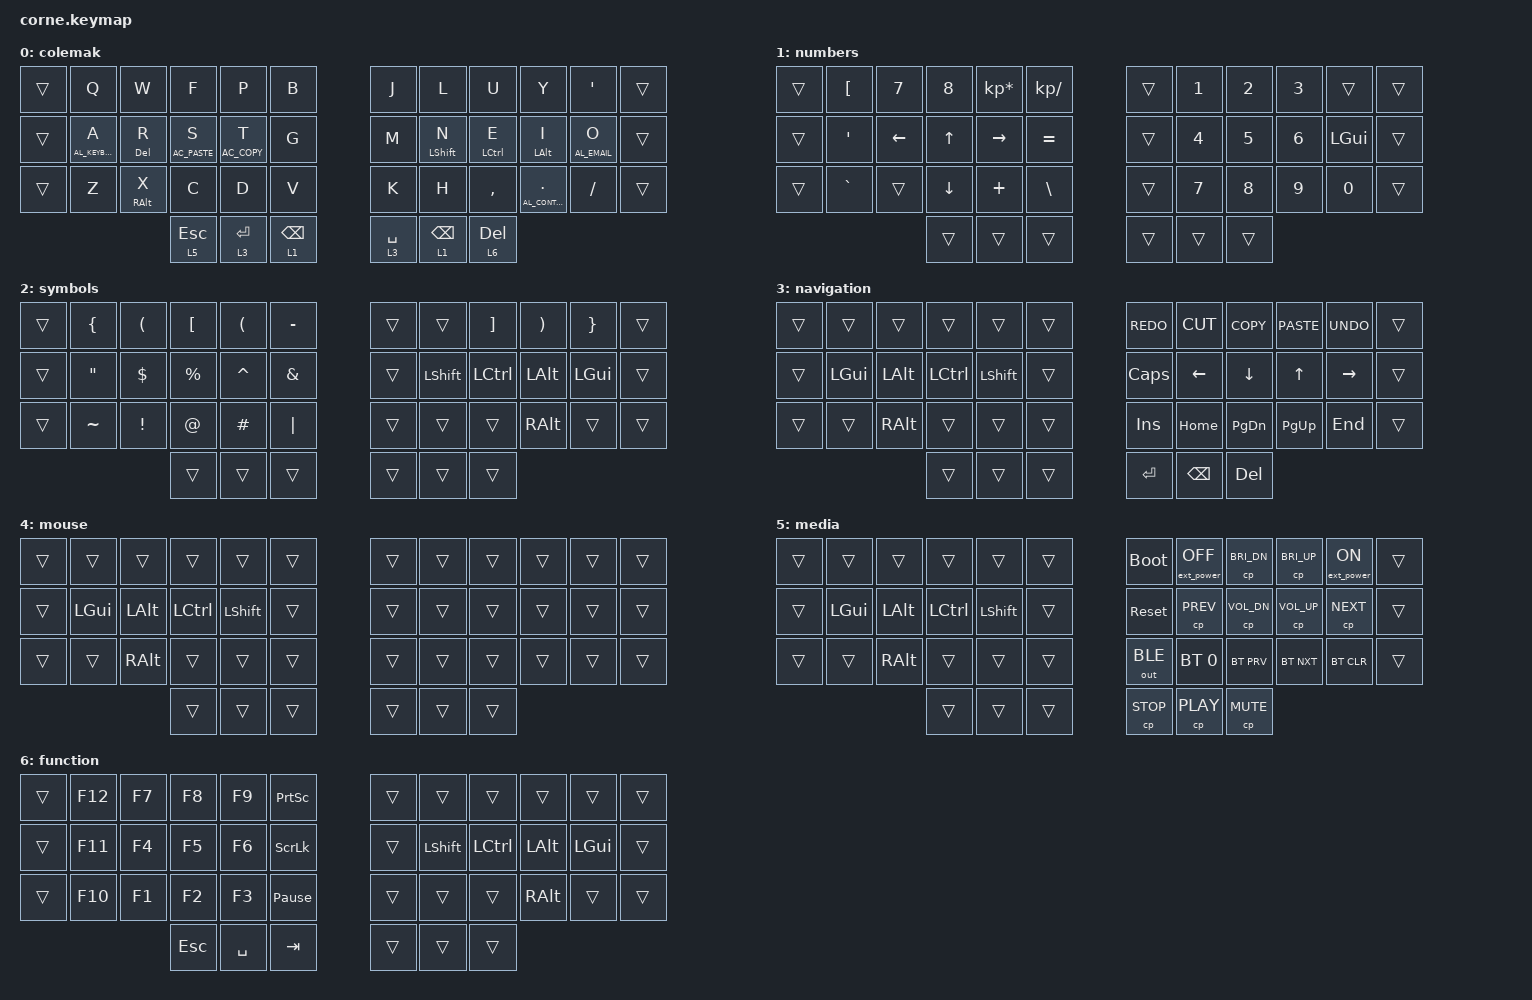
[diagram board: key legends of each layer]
#include <behaviors.dtsi>
#include <dt-bindings/zmk/bt.h>
#include <dt-bindings/zmk/ext_power.h>
#include <dt-bindings/zmk/keys.h>
#include <dt-bindings/zmk/outputs.h>

// Layer Definitions

#define COLEMAK 0
#define NAV 1
#define MOUSE 2
#define MEDIA 3
#define NUM 4
#define SYM 5
#define FN 6

// Behavior configuration

&mt {
    tapping-term-ms = <200>;
    quick_tap_ms = <0>;
    flavor = "tap-preferred";
};

&lt {
    tapping-term-ms = <200>;
    quick_tap_ms = <0>;
    flavor = "tap-preferred";
};

&sk {
    release-after-ms = <500>;
    quick-release;
};

// Keymap configuration (Colemak-DHm)

/ {
    combos {
        compatible = "zmk,combos";

        new_combo {
            bindings = <&trans>;
            key-positions = <>;
        };
    };

    keymap {
        compatible = "zmk,keymap";

        colemak {
            // -----------------------------------------------------------------------------------------------------------------------------
            // |        |   Q    |   W    |     F     |     P     |     B     | # |     J     |    L     |    U    |    Y   |   '    |     |
            // |        | A/LGUI | R/LALT |  S/LCTRL  |  T/LSHFT  |     G     | # |     M     | N/LSHFT  | E/LCTRL | I/LALT | O/LGUI |     |
            // |        |   Z    | X/RALT |     C     |     D     |     V     | # |     K     |    H     |    ,    | ./RALT |   /    |     |
            //                            | ESC/MEDIA | SPACE/NAV | TAB/MOUSE | # | ENTER/SYM | BSPC/NUM | DEL/FN  |

            bindings = <
&trans                       &kp Q         &kp W             &kp F            &kp P            &kp B          &kp J        &kp L        &kp U                       &kp Y           &kp SQT  &trans
&trans  &mt C_AL_KEYBOARD_LAYOUT A  &mt DELETE R  &mt C_AC_PASTE S  &mt C_AC_COPY T            &kp G          &kp M  &mt LSHFT N  &mt LCTRL E                  &mt LALT I  &mt C_AL_EMAIL O  &trans
&trans                       &kp Z    &mt RALT X             &kp C            &kp D            &kp V          &kp K        &kp H    &kp COMMA  &mt C_AL_CONTROL_PANEL DOT          &kp FSLH  &trans
                                                         &lt 5 ESC      &lt 3 ENTER  &lt 1 BACKSPACE    &lt 3 SPACE   &lt 1 BSPC    &lt 6 DEL
            >;
        };

        numbers {
            // -----------------------------------------------------------------------------------
            // |     |  [  |  7  |  8  |  9  |  ]  | # |     |       |       |      |      |     |
            // |     |  ;  |  4  |  5  |  6  |  =  | # |     | LSHFT | LCTRL | LALT | LGUI |     |
            // |     |  `  |  1  |  2  |  3  |  \  | # |     |       |       | RALT |      |     |
            //                   |  .  |  0  |  -  | # |     | HELD  |       |

            bindings = <
&trans   &kp LBKT          &kp N7          &kp N8  &kp KP_MULTIPLY  &kp KP_DIVIDE    &trans  &kp NUMBER_1  &kp NUMBER_2  &kp NUMBER_3        &trans  &trans
&trans    &kp SQT  &kp LEFT_ARROW    &kp UP_ARROW  &kp RIGHT_ARROW      &kp EQUAL    &trans  &kp NUMBER_4  &kp NUMBER_5  &kp NUMBER_6      &kp LGUI  &trans
&trans  &kp GRAVE          &trans  &kp DOWN_ARROW         &kp PLUS       &kp BSLH    &trans  &kp NUMBER_7  &kp NUMBER_8  &kp NUMBER_9  &kp NUMBER_0  &trans
                                           &trans           &trans         &trans    &trans        &trans        &trans
            >;
        };

        symbols {
            // ------------------------------------------------------------------------------------
            // |     |  {  |  &  |  *  |  (  |  }  | # |      |       |       |      |      |     |
            // |     |  :  |  $  |  %  |  ^  |  +  | # |      | LSHFT | LCTRL | LALT | LGUI |     |
            // |     |  ~  |  !  |  @  |  #  |  |  | # |      |       |       | RALT |      |     |
            //                   |  (  |  )  |  _  | # | HELD |       |       |

            bindings = <
&trans   &kp LBRC  &kp LEFT_PARENTHESIS  &kp LEFT_BRACKET   &kp LPAR      &kp MINUS    &trans     &trans  &kp RIGHT_BRACKET  &kp RIGHT_PARENTHESIS  &kp RBRC  &trans
&trans    &kp DQT              &kp DLLR         &kp PRCNT  &kp CARET  &kp AMPERSAND    &trans  &kp LSHFT          &kp LCTRL               &kp LALT  &kp LGUI  &trans
&trans  &kp TILDE              &kp EXCL            &kp AT   &kp HASH       &kp PIPE    &trans     &trans             &trans               &kp RALT    &trans  &trans
                                                   &trans     &trans         &trans    &trans     &trans             &trans
            >;
        };

        navigation {
            // -------------------------------------------------------------------------------------------
            // |     |      |      |       |       |     | # | REDO  | CUT  | COPY | PASTE | UNDO  |     |
            // |     | LGUI | LALT | LCTRL | LSHFT |     | # | CAPS  | LEFT | DOWN | UP    | RIGHT |     |
            // |     |      | RALT |       |       |     | # | INS   | HOME | PGDN | PGUP  | END   |     |
            //                     |       | HELD  |     | # | ENTER | BSPC | DEL  |

            bindings = <
&trans    &trans    &trans     &trans     &trans  &trans      &kp K_REDO  &kp K_CUT  &kp K_COPY  &kp K_PASTE  &kp K_UNDO  &trans
&trans  &kp LGUI  &kp LALT  &kp LCTRL  &kp LSHFT  &trans    &kp CAPSLOCK   &kp LEFT    &kp DOWN       &kp UP   &kp RIGHT  &trans
&trans    &trans  &kp RALT     &trans     &trans  &trans         &kp INS   &kp HOME   &kp PG_DN    &kp PG_UP     &kp END  &trans
                               &trans     &trans  &trans       &kp ENTER   &kp BSPC     &kp DEL
            >;
        };

        mouse {
            // ------------------------------------------------------------------------------------
            // |     |      |      |       |       |      | # |     |     |     |     |     |     |
            // |     | LGUI | LALT | LCTRL | LSHFT |      | # |     |     |     |     |     |     |
            // |     |      | RALT |       |       |      | # |     |     |     |     |     |     |
            //                     |       |       | HELD | # |     |     |     |

            bindings = <
&trans    &trans    &trans     &trans     &trans  &trans    &trans  &trans  &trans  &trans  &trans  &trans
&trans  &kp LGUI  &kp LALT  &kp LCTRL  &kp LSHFT  &trans    &trans  &trans  &trans  &trans  &trans  &trans
&trans    &trans  &kp RALT     &trans     &trans  &trans    &trans  &trans  &trans  &trans  &trans  &trans
                               &trans     &trans  &trans    &trans  &trans  &trans
            >;
        };

        media {
            // -----------------------------------------------------------------------------------------------------
            // |     |      |      |       |       |      | # | BOOTLOAD | EP_OFF | BR_D   | BR_U   | EP_ON  |     |
            // |     | LGUI | LALT | LCTRL | LSHFT |      | # | RESET    | PREV   | VOL_D  | VOL_U  | NEXT   |     |
            // |     |      | RALT |       |       |      | # | OUT_BLE  | BT_0   | BT_PRV | BT_NXT | BT_CLR |     |
            //                     | HELD  |       |      | # | STOP     | PLAY   | MUTE   |

            bindings = <
&trans    &trans    &trans     &trans     &trans  &trans     &bootloader  &ext_power EP_OFF  &cp C_BRI_DN  &cp C_BRI_UP  &ext_power EP_ON  &trans
&trans  &kp LGUI  &kp LALT  &kp LCTRL  &kp LSHFT  &trans      &sys_reset         &cp C_PREV  &cp C_VOL_DN  &cp C_VOL_UP        &cp C_NEXT  &trans
&trans    &trans  &kp RALT     &trans     &trans  &trans    &out OUT_BLE       &bt BT_SEL 0    &bt BT_PRV    &bt BT_NXT        &bt BT_CLR  &trans
                               &trans     &trans  &trans      &cp C_STOP         &cp C_PLAY    &cp C_MUTE
            >;
        };

        function {
            // ------------------------------------------------------------------------------------------
            // |     |  F12 |  F7  |  F8  |  F9   | PSCRN | # |     |       |       |      |      |     |
            // |     |  F11 |  F4  |  F5  |  F6   | SLCK  | # |     | LSHFT | LCTRL | LALT | LGUI |     |
            // |     |  F10 |  F1  |  F2  |  F3   | PAUSE | # |     |       |       | RALT |      |     |
            //                     | ESC  | SPACE |  TAB  | # |     |       | HELD  |

            bindings = <
&trans  &kp F12  &kp F7   &kp F8     &kp F9        &kp PSCRN    &trans     &trans     &trans    &trans    &trans  &trans
&trans  &kp F11  &kp F4   &kp F5     &kp F6         &kp SLCK    &trans  &kp LSHFT  &kp LCTRL  &kp LALT  &kp LGUI  &trans
&trans  &kp F10  &kp F1   &kp F2     &kp F3  &kp PAUSE_BREAK    &trans     &trans     &trans  &kp RALT    &trans  &trans
                         &kp ESC  &kp SPACE          &kp TAB    &trans     &trans     &trans
            >;
        };
    };
};
